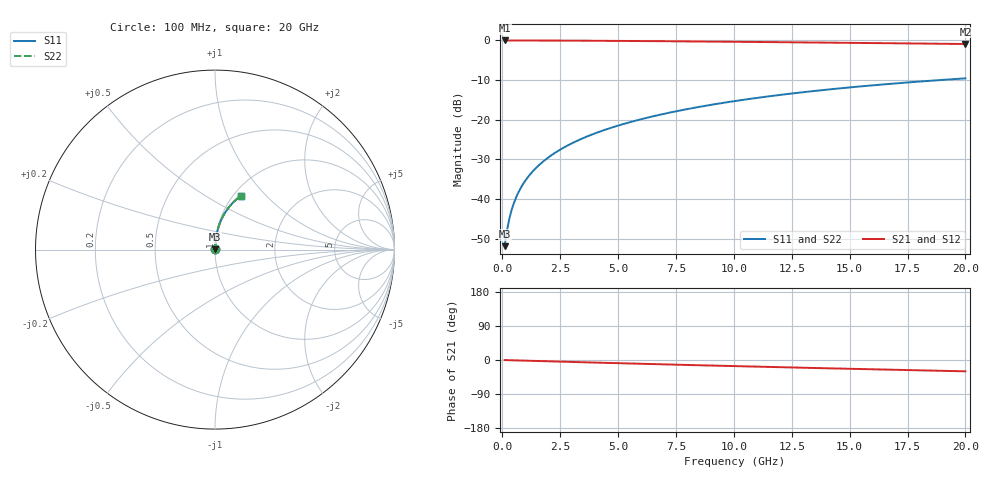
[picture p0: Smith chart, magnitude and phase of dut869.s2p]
! Touchstone file exported from HFSS 2024.1.0
!  File:  C:/UserFiles/LocalFiles/RDL_TSV_Batchsim/temp_RDL_top_869_1779856369.aedt
!  Generated:  12:35:15 PM May 27, 2026
!  Design:  RDL_top
!  Project:  temp_RDL_top_869_1779856369
!  Setup:  Setup1
!  Solution:  Sweep
! Variables:
!  dtsv = 10.80580581um
!  hbump = 3um
!  htsv = 87.12um
!  ldown = 100um
!  lrdl = 371.07um
!  p = 40
!  p1 = 54.39um
!  rhole = 1um
!  t = 450um
!  tdown = 3.915915916um
!  trdl = 4.36um
!  wdown = 15.38538539um
!  wrdl = 17.62um
# GHz S MA R 50.000000
! Terminal data exported
! Port[1] = Box2_T1
! Port[2] = Box2_T2
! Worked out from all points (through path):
!   200 points, 100 MHz to 20 GHz, reference 50 ohm
!   highest |S21| = -0.02 dB at 100 MHz (marker M1); lowest = -0.9 dB at 20 GHz (marker M2)
!   group delay of S21, straight-line fit = 4.13 ps
!   lowest |S11| = -51.9 dB at 100 MHz (marker M3), VSWR 1.01, Z = 50.2 + j0.177 ohm
!   |S11| at or under -10 dB: start of sweep to 18.9 GHz
!   |S22| runs from -51.9 to -9.6 dB; largest |S21 - S12| = 4.3e-15
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0.1  0.002554 43.6  0.9981 -0.2  0.9981 -0.2  0.002554 43.6
! Gamma 0 0 0 0
! Port Impedance 50 0 50 0
0.2  0.003988 61.7  0.9981 -0.4  0.9981 -0.4  0.003988 61.7
0.3  0.005597 69.6  0.998 -0.5  0.998 -0.5  0.005597 69.6
0.4  0.00725 73.8  0.9979 -0.7  0.9979 -0.7  0.007251 73.8
0.5  0.008911 76.3  0.9978 -0.9  0.9978 -0.9  0.008913 76.3
0.7  0.01223 79.3  0.9976 -1.2  0.9976 -1.2  0.01223 79.3
0.8  0.01388 80.3  0.9975 -1.4  0.9975 -1.4  0.01388 80.3
1  0.01717 81.6  0.9973 -1.7  0.9973 -1.7  0.01718 81.6
1.2  0.02047 82.5  0.997 -2.1  0.997 -2.1  0.02047 82.5
1.4  0.02376 83.2  0.9967 -2.4  0.9967 -2.4  0.02377 83.2
1.7  0.02872 83.8  0.9962 -2.9  0.9962 -2.9  0.02873 83.8
2  0.0337 84.2  0.9956 -3.4  0.9956 -3.4  0.0337 84.2
2.7  0.04537 84.6  0.9939 -4.6  0.9939 -4.6  0.04537 84.6
3.5  0.05884 84.5  0.9915 -6.0  0.9915 -6.0  0.05883 84.5
4.2  0.07072 84.2  0.989 -7.1  0.989 -7.1  0.07072 84.2
5  0.08441 83.6  0.9858 -8.4  0.9858 -8.4  0.08441 83.6
6.8  0.1156 81.9  0.9775 -11.3  0.9775 -11.3  0.1156 81.9
8.4  0.1435 80.1  0.9694 -13.7  0.9694 -13.7  0.1434 80.1
10.1  0.173 77.9  0.9603 -16.3  0.9603 -16.3  0.173 77.9
13.4  0.2293 73.5  0.9415 -21.0  0.9415 -21.0  0.2292 73.4
16.7  0.2827 68.9  0.9214 -25.5  0.9214 -25.5  0.2826 68.9
20  0.3324 64.4  0.9004 -29.9  0.9004 -29.9  0.3323 64.4
